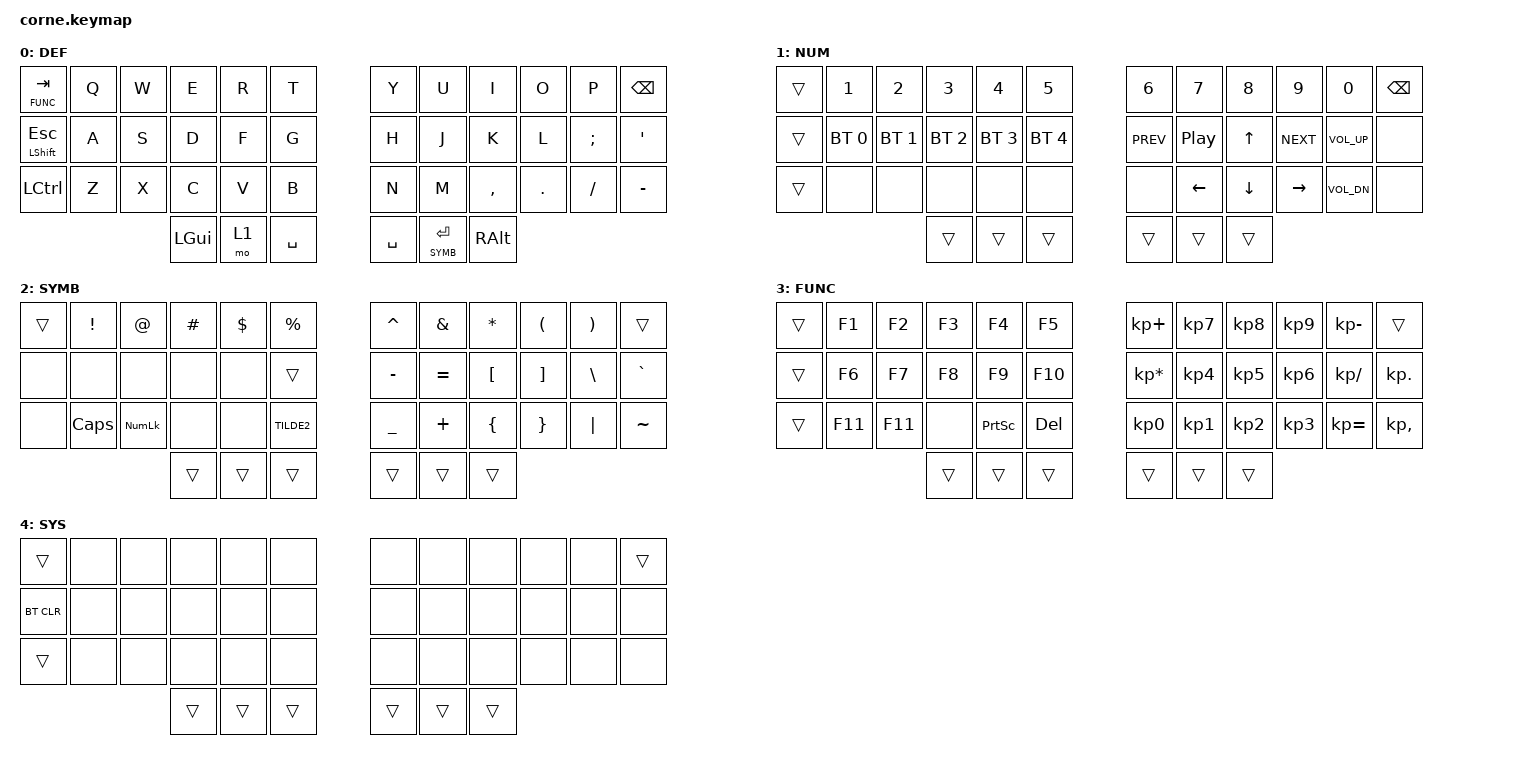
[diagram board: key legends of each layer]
#include <behaviors.dtsi>
#include <dt-bindings/zmk/keys.h>
#include <dt-bindings/zmk/bt.h>

//Layers
#define DEF 0
#define NUM 1
#define SYMB 2
#define FUNC 3
#define SYS 4

/ {
        keymap {
                compatible = "zmk,keymap";
                DEF {
                        display-name = "DEF";
// Layer 0
// -----------------------------------------------------------------------------------------
// |Fnum/TAB |  Q  |  W  |  E  |  R  |  T  |   |  Y  |  U   |  I  |  O  |  P  | BSPC |
// |LSHFT/ESC|  A  |  S  |  D  |  F  |  G  |   |  H  |  J   |  K  |  L  |  ;  |  '   |
// |  LCTRL  |  Z  |  X  |  C  |  V  |  B  |   |  N  |  M   |  ,  |  .  |  /  |  -   |
//                       | GUI | NUM | SPC |   | SPC |SYMB/RET|RALT|
                        bindings = <
   &lt FUNC TAB   &kp Q &kp W &kp E    &kp R &kp T       &kp Y     &kp U     &kp I     &kp O   &kp P    &kp BSPC
   &mt LSHFT ESC &kp A &kp S &kp D    &kp F &kp G       &kp H     &kp J     &kp K     &kp L   &kp SEMI &kp SQT
   &kp LCTRL     &kp Z &kp X &kp C    &kp V &kp B       &kp N     &kp M     &kp COMMA &kp DOT &kp FSLH &kp MINUS
                             &kp LGUI &mo 1 &kp SPACE   &kp SPACE &lt SYMB RET  &kp RALT
                        >;
                };
                NUM {  
                        display-name = "NUM";
// Layer 1
// -----------------------------------------------------------------------------------------
// |    |  1  |  2  |  3  |  4  |  5  |   |  6  |  7  |  8  |  9  |  0  |     |
// |    | BT1 | BT2 | BT3 | BT4 | BT5 |   |PREV |PLAY |  UP |NEXT |VOL+ | XXX |
// |    |     | XXX | XXX | XXX | XXX |   | XXX | LFT | DWN | RGT |VOL- | XXX |
//                  |     |     |     |   |     |     |     |
                        bindings = <
   &trans     &kp N1       &kp N2       &kp N3       &kp N4       &kp N5       &kp N6     &kp N7   &kp N8   &kp N9     &kp N0    &kp BSPC
   &trans &bt BT_SEL 0 &bt BT_SEL 1 &bt BT_SEL 2 &bt BT_SEL 3 &bt BT_SEL 4 &kp C_PREV &kp C_PP &kp UP   &kp C_NEXT &kp C_VOL_UP &none
   &trans     &none        &none        &none        &none        &none        &none      &kp LEFT &kp DOWN &kp RIGHT  &kp C_VOL_DN &none
                                        &trans       &trans       &trans       &trans     &trans   &trans
                        >;
                };

                SYMB {
                        display-name = "SYMB";
// Layer 2
// ------ w-----------------------------------------------------------------------------------
// |    |  !   |  @   |  #  |  $  |  %  |   |  ^  |  &  |  *  |  (  |  )  |      |
// |    | XXX  | XXX  | XXX | XXX | XXX |   |  -  |  =  |  [  |  ]  |  \  |  `   |
// |    | CAPS |NUM LK| XXX | XXX | XXX |   |  _  |  +  |  {  |  }  | "|" |  ~   |
//                    |     |     |     |   |     |     |     |
                        bindings = <
   &trans &kp EXCL  &kp AT      &kp HASH &kp DLLR &kp PRCNT  &kp CARET &kp AMPS  &kp ASTRK &kp LPAR &kp RPAR &trans
   &none  &none     &none       &none    &none    &trans     &kp MINUS &kp EQUAL &kp LBKT  &kp RBKT &kp BSLH &kp GRAVE
   &none  &kp CAPS  &kp KP_NUM  &none    &none    &kp TILDE2 &kp UNDER &kp PLUS  &kp LBRC  &kp RBRC &kp PIPE &kp TILDE
                                &trans   &trans   &trans     &trans    &trans    &trans
                        >;
                };
		FUNC {
                        display-name = "FUNC";
// -----------------------------------------------------------------------------------------
// |    | F1  | F2  | F3  | F4  | F5  |   |  +  |  7  |  8  |  9  |  -  |      |
// |    | F6  | F7  | F8  | F9  | F10 |   |  *  |  4  |  5  |  6  |  /  |  .   |
// |    | F11 | F12 | XXX |PRINT| DEL |   |  0  |  1  |  2  |  3  |  =  |  ,   |
//                  |     |     |     |   |     |     |     |
                        bindings = <
   &trans &kp F1  &kp F2  &kp F3 &kp F4    &kp F5   &kp KP_PLUS     &kp KP_N7 &kp KP_N8 &kp KP_N9 &kp KP_MINUS  &trans
   &trans &kp F6  &kp F7  &kp F8 &kp F9    &kp F10  &kp KP_MULTIPLY &kp KP_N4 &kp KP_N5 &kp KP_N6 &kp KP_DIVIDE &kp KP_DOT 
   &trans &kp F11 &kp F11 &none  &kp PSCRN &kp DEL  &kp KP_N0       &kp KP_N1 &kp KP_N2 &kp KP_N3 &kp KP_EQUAL  &kp KP_COMMA 
                          &trans &trans    &trans   &trans          &trans    &trans
                        >;
                };
		  SYS {
                        display-name = "SYS";
// -----------------------------------------------------------------------------------------
// |    | XXX  | XXX  | XXX | XXX | XXX | | XXX | XXX | XXX | XXX | XXX | XXX |
// |BTCLR| XXX | XXX  | XXX | XXX | XXX | | XXX | XXX | XXX | XXX | XXX | XXX |
// |    | XXX  | XXX  | XXX | XXX | XXX | | XXX | XXX | XXX | XXX | XXX | XXX |
//                  |     |     |     |   |     |     |     |
                        bindings = <
   &trans &none   &none   &none  &none     &none    &none     &none     &none     &none     &none         &trans
   &bt BT_CLR &none   &none   &none  &none     &none    &none     &none     &none     &none     &none         &none
   &trans &none   &none   &none  &none     &none    &none     &none     &none     &none     &none         &none
                          &trans &trans    &trans   &trans    &trans    &trans
                        >;
                };
        };
};

